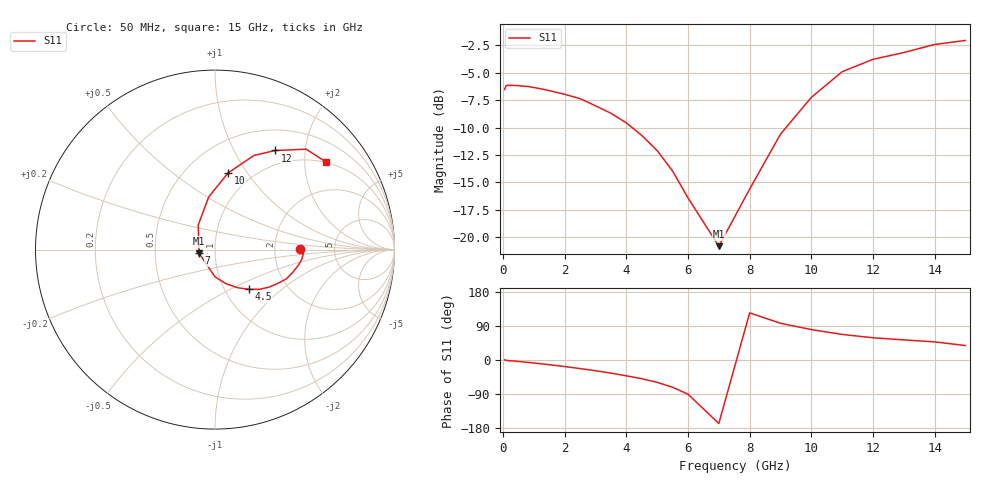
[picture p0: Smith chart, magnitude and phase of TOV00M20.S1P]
! SIEMENS Small Signal Semiconductors
! BAT15-03W
! Si Schottky Diode in SOD323
! IF = 0.2 mA
! S-Parameters:  May  1996
# GHz  S  MA  R  50
!  f  S11
! GHz  MAG  ANG
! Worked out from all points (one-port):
!   31 points, 50 MHz to 15 GHz, reference 50 ohm
!   lowest |S11| = -20.8 dB at 7 GHz (marker M1), VSWR 1.20, Z = 41.8 - j1.66 ohm
!   |S11| at or under -10 dB: 4.185 GHz to 9.181 GHz (4.996 GHz wide, 74.8 % of centre)
!   S11 on the Smith chart (normalised r, x): 50 MHz: 2.78, +0.03; 4.5 GHz: 1.30, -0.63; 7 GHz: 0.84, -0.03; 10 GHz: 0.78, +0.82; 12 GHz: 0.78, +1.48; 15 GHz: 0.99, +2.55
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0.05  0.4713 0.5
0.1  0.4913 -1.1
0.15  0.4926 -1.2
0.2  0.4921 -2.2
0.3  0.4927 -2.1
0.4  0.4911 -3.2
0.5  0.4914 -3.9
0.6  0.4883 -4.6
0.8  0.4866 -6.4
1.2  0.4757 -9.6
2  0.4481 -17.3
2.5  0.4282 -22.6
3  0.3972 -28.3
3.5  0.3673 -34.6
4  0.332 -41.8
4.5  0.2911 -49.4
5  0.2483 -59.0
5.5  0.2004 -71.9
6  0.1512 -90.3
7  0.09113 -167.5
8  0.1658 124.3
9  0.2949 96.9
10  0.4337 80.3
11  0.5677 67.5
12  0.6465 58.7
13  0.6945 53.1
14  0.7556 47.8
15  0.7883 38.2
